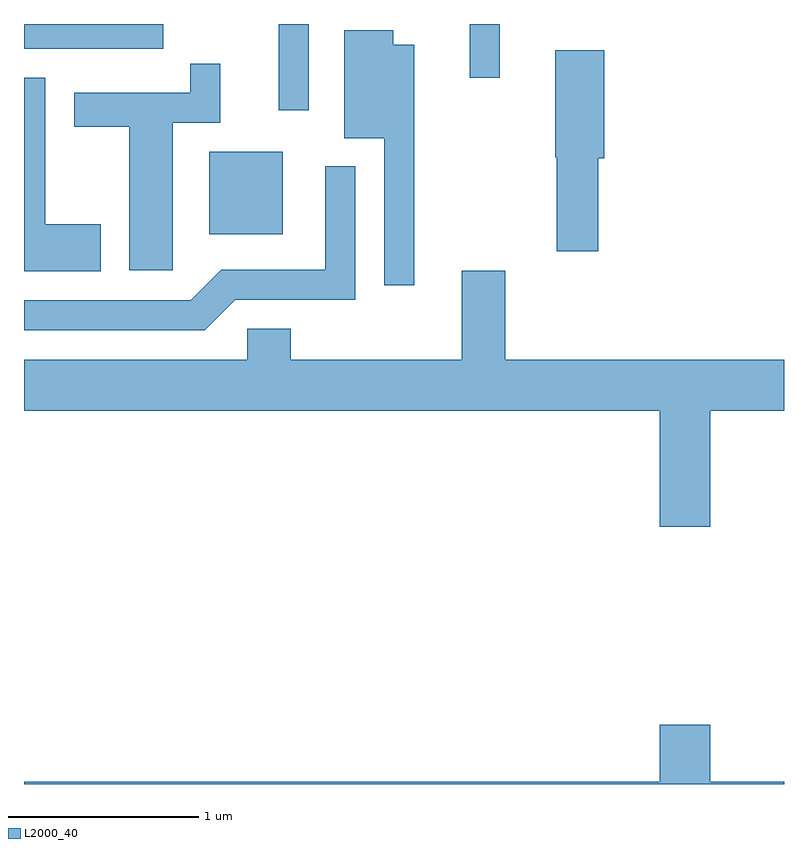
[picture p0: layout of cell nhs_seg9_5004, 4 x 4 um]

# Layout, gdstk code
import gdstk
lib = gdstk.Library(unit=1e-6, precision=1e-09)
def R(c, l, rs):  # rectangles x0, y0, x1, y1
    for r in rs: c.add(gdstk.rectangle(r[:2], r[2:], *l))
def P(c, l, *ps):  # polygons
    for p in ps: c.add(gdstk.Polygon(p, *l))
L2000_40 = (2000, 40)

nhs_seg9_5004 = lib.new_cell('nhs_seg9_5004')
R(nhs_seg9_5004, L2000_40, [(332.586,2079.326,332.974,2079.759), (332.951,2079.978,333.109,2080.432), (333.956,2080.148,334.114,2080.432), (331.611,2080.301,332.343,2080.432)])
P(nhs_seg9_5004, L2000_40, [(333.664,2080.324),(333.554,2080.324),(333.554,2080.399),(333.296,2080.399),(333.296,2079.831),(333.506,2079.831),(333.506,2079.058),(333.664,2079.058)],
  [(334.634,2079.726),(334.664,2079.726),(334.664,2080.294),(334.406,2080.294),(334.406,2079.73),(334.416,2079.73),(334.416,2079.236),(334.634,2079.236)],
  [(332.394,2079.911),(332.644,2079.911),(332.644,2080.222),(332.486,2080.222),(332.486,2080.069),(331.876,2080.069),(331.876,2079.891),(332.166,2079.891),(332.166,2079.136),(332.394,2079.136)],
  [(332.014,2079.379),(331.724,2079.379),(331.724,2080.149),(331.611,2080.149),(331.611,2079.131),(332.014,2079.131)],
  [(332.722,2078.981),(333.354,2078.981),(333.354,2079.683),(333.196,2079.683),(333.196,2079.139),(332.649,2079.139),(332.489,2078.979),(331.611,2078.979),(331.611,2078.821),(332.562,2078.821)],
  [(335.224,2078.396),(335.611,2078.396),(335.611,2078.664),(334.144,2078.664),(334.144,2079.134),(333.916,2079.134),(333.916,2078.664),(333.014,2078.664),(333.014,2078.829),(332.786,2078.829),(332.786,2078.664),(331.611,2078.664),(331.611,2078.396),(334.956,2078.396),(334.956,2077.786),(335.224,2077.786)],
  [(335.611,2076.444),(335.224,2076.444),(335.224,2076.744),(334.956,2076.744),(334.956,2076.444),(331.611,2076.444),(331.611,2076.432),(335.611,2076.432)])

lib.write_gds('nhs_seg9_5004.gds')
